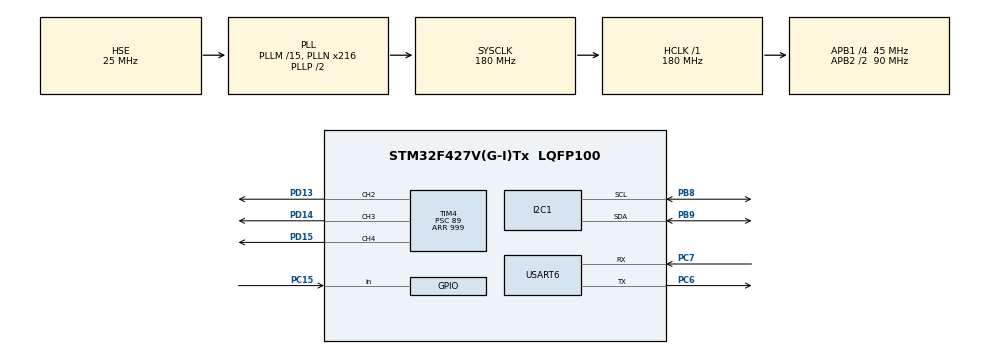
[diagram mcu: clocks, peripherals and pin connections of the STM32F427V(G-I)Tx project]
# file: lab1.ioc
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I2C1.I2C_Mode=I2C_Fast
Mcu.Family=STM32F4
Mcu.Name=STM32F427V(G-I)Tx
Mcu.Package=LQFP100
NVIC.PriorityGroup=NVIC_PRIORITYGROUP_4
NVIC.USART6_IRQn=true\:0\:0\:false\:false\:true\:true\:true\:true
PA13.Mode=JTAG_5_pins
PA13.Signal=SYS_JTMS-SWDIO
PA14.Mode=JTAG_5_pins
PA14.Signal=SYS_JTCK-SWCLK
PA15.Mode=JTAG_5_pins
PA15.Signal=SYS_JTDI
PB3.Mode=JTAG_5_pins
PB3.Signal=SYS_JTDO-SWO
PB4.Mode=JTAG_5_pins
PB4.Signal=SYS_JTRST
PB8.Mode=I2C
PB8.Signal=I2C1_SCL
PB9.Mode=I2C
PB9.Signal=I2C1_SDA
PC15/OSC32_OUT.Signal=GPIO_Input
PC6.Mode=Asynchronous
PC6.Signal=USART6_TX
PC7.Mode=Asynchronous
PC7.Signal=USART6_RX
PD13.Signal=S_TIM4_CH2
PD14.Signal=S_TIM4_CH3
PD15.Signal=S_TIM4_CH4
PH0/OSC_IN.Mode=HSE-External-Oscillator
PH0/OSC_IN.Signal=RCC_OSC_IN
PH1/OSC_OUT.Mode=HSE-External-Oscillator
PH1/OSC_OUT.Signal=RCC_OSC_OUT
ProjectManager.HeapSize=0x200
ProjectManager.StackSize=0x400
ProjectManager.TargetToolchain=STM32CubeIDE
RCC.48MHZClocksFreq_Value=90000000
RCC.AHBFreq_Value=180000000
RCC.APB1CLKDivider=RCC_HCLK_DIV4
RCC.APB1Freq_Value=45000000
RCC.APB1TimFreq_Value=90000000
RCC.APB2CLKDivider=RCC_HCLK_DIV2
RCC.APB2Freq_Value=90000000
RCC.APB2TimFreq_Value=180000000
RCC.CortexFreq_Value=180000000
RCC.HCLKFreq_Value=180000000
RCC.HSE_VALUE=25000000
RCC.HSI_VALUE=16000000
RCC.LSE_VALUE=32768
RCC.PLLM=15
RCC.PLLN=216
RCC.PLLSourceVirtual=RCC_PLLSOURCE_HSE
RCC.SYSCLKFreq_VALUE=180000000
RCC.SYSCLKSource=RCC_SYSCLKSOURCE_PLLCLK
RCC.VCOOutputFreq_Value=360000000
SH.S_TIM4_CH2.0=TIM4_CH2,PWM Generation2 CH2
SH.S_TIM4_CH3.0=TIM4_CH3,PWM Generation3 CH3
SH.S_TIM4_CH4.0=TIM4_CH4,PWM Generation4 CH4
TIM4.Channel-PWM\ Generation2\ CH2=TIM_CHANNEL_2
TIM4.Channel-PWM\ Generation3\ CH3=TIM_CHANNEL_3
TIM4.Channel-PWM\ Generation4\ CH4=TIM_CHANNEL_4
TIM4.Period=999
TIM4.Prescaler=89
TIM4.Pulse-PWM\ Generation2\ CH2=500
TIM4.Pulse-PWM\ Generation3\ CH3=500
USART6.VirtualMode=VM_ASYNC
VP_TIM4_VS_ClockSourceINT.Mode=Internal
board=custom

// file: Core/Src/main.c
/* USER CODE BEGIN Header */
/**
  ******************************************************************************
  * @file           : main.c
  * @brief          : Main program body
  ******************************************************************************
  * @attention
  *
  * Copyright (c) 2022 STMicroelectronics.
  * All rights reserved.
  *
  * This software is licensed under terms that can be found in the LICENSE file
  * in the root directory of this software component.
  * If no LICENSE file comes with this software, it is provided AS-IS.
  *
  ******************************************************************************
  */
/* USER CODE END Header */
#include "main.h"
#include "i2c.h"
#include "tim.h"
#include "usart.h"
#include "gpio.h"

/* USER CODE BEGIN Includes */
#include "utils.h"
#include "UartRingbuffer.h"
#include "mode.c"
#include <string.h>
#include <stdlib.h>
/* USER CODE END Includes */

/* USER CODE BEGIN PD */
#define MODES_LENGTH 9
#define TIMEOUT 10

#define KB_I2C_ADDRESS (0xE2)
#define KB_I2C_READ_ADDRESS ((KB_I2C_ADDRESS) | 1)
#define KB_I2C_WRITE_ADDRESS ((KB_I2C_ADDRESS) & ~1)
#define KB_INPUT_REG (0x0)
#define KB_OUTPUT_REG (0x1)
#define KB_CONFIG_REG (0x3)
#define KB_KEY_DEBOUNCE_TIME (100)
/* USER CODE END PD */

/* USER CODE BEGIN PV */

struct Mode MODES[] = {
		  {LED_GREEN, 10},
		  {LED_GREEN, 40},
		  {LED_GREEN, 100},
		  {LED_YELLOW, 10},
		  {LED_YELLOW, 40},
		  {LED_YELLOW, 100},
		  {LED_RED, 10},
		  {LED_RED, 40},
		  {LED_RED, 100}
};

struct Mode buffer_mode = {LED_GREEN, 0};
int input_index = 0;

bool is_editing_mode = false;

uint32_t last_pressed_time = 0;
int last_pressed_btn_index = -1;

bool is_digit_input_mode = true;
bool is_test_keyboard_mode = false;
bool last_btn_state = false;

char digits[] = {'1', '2', '3', '4', '5', '6', '7', '8', '9', 'q', '0', '\r'};
char chars[] = {'a', 'b', 'c', '+', '-', '!', '!', '!', '!', 'q', '!', '\r'};

/* USER CODE END PV */

void SystemClock_Config(void);

/* USER CODE BEGIN 0 */

void set_pin(int led, int brightness){
	disable_all_pins();

	switch (led) {
		case 0 :
			htim4.Instance->CCR2 = 10 * brightness;
			break;
		case 1 :
			htim4.Instance->CCR3 = 10 * brightness;
			break;
		case 2 :
			htim4.Instance->CCR4 = 10 * brightness;
			break;
	}
}

void disable_all_pins() {
	htim4.Instance->CCR2 = 0;
	htim4.Instance->CCR3 = 0;
	htim4.Instance->CCR4 = 0;
}

void print(const char * content) {
	uart_sendstring(content);
}

void print_number(const int content) {
	char str_index[3];
	sprintf(str_index, "%i", content);
	print(str_index);
}

void print_mode_description(struct Mode mode, int index, bool is_editing_mode){
	if (is_editing_mode) {
		print("Editing mode ");
	} else {
		print("Mode ");
	}

	print_number(index + 1);
	print(": ");

	switch (mode.led) {
		case 0 : print("green, "); break;
		case 1 : print("yellow, "); break;
		case 2 : print("red, "); break;
	}

	print_number(mode.brightness);
	print("% brightness\n\r");
}

int get_pressed_btn_index() {
	const uint32_t t = HAL_GetTick();

	if (t - last_pressed_time < KB_KEY_DEBOUNCE_TIME) {
		return -1;
	}

	int index = -1;

	uint8_t reg_buffer = ~0;

	// Clear register by writing zeroes
	uint8_t tmp = 0;
	HAL_I2C_Mem_Write(&hi2c1, KB_I2C_WRITE_ADDRESS, KB_OUTPUT_REG, 1, &tmp, 1, KB_KEY_DEBOUNCE_TIME);

	for (int row = 0; row < 4; row++) {
		uint8_t buf = ~((uint8_t) (1 << row));

		HAL_I2C_Mem_Write(&hi2c1, KB_I2C_WRITE_ADDRESS, KB_CONFIG_REG, 1, &buf, 1, KB_KEY_DEBOUNCE_TIME);

		HAL_Delay(10);

		HAL_I2C_Mem_Read(&hi2c1, KB_I2C_READ_ADDRESS, KB_INPUT_REG, 1, &reg_buffer, 1, KB_KEY_DEBOUNCE_TIME);

		switch(reg_buffer >> 4) {
			case 6: index = row * 3 + 1; break;
			case 5: index = row * 3 + 2; break;
			case 3: index = row * 3 + 3; break;
		}
	}

	if (index != -1) {
		last_pressed_time = t;
	}

	if (index == last_pressed_btn_index) {
		return -1;
	}

	last_pressed_btn_index = index;

	return index;
}

char key2char(const int key){
    return is_digit_input_mode ? digits[key - 1] : chars[key - 1];
}

void print_char_value(const char * array, int i) {
	if (array[i] == 'q'){
		print("chars/digits mode");
		return;
	}

	if (array[i] == '\r'){
		print("enter");
		return;
	}

	if (array[i] != '!'){
		char s[2];
		s[0] = array[i];
		s[1] = '\0';
		print(s);
	}
}

void print_key_value(int i) {
	print("Digit mode: ");
	print_char_value(digits, i);
	print(", Char mode: ");
	print_char_value(chars, i);
	print("\r\n");
}

/* USER CODE END 0 */

int main(void)
{

  /* MCU Configuration--------------------------------------------------------*/

  /* Reset of all peripherals, Initializes the Flash interface and the Systick. */
  HAL_Init();

  /* Configure the system clock */
  SystemClock_Config();

  /* Initialize all configured peripherals */
  MX_GPIO_Init();
  MX_USART6_UART_Init();
  MX_TIM4_Init();
  MX_I2C1_Init();
  /* USER CODE BEGIN 2 */
  Ringbuf_init ();
  /* USER CODE END 2 */

  /* Infinite loop */
  /* USER CODE BEGIN WHILE */

  HAL_TIM_PWM_Start(&htim4, TIM_CHANNEL_2);
  HAL_TIM_PWM_Start(&htim4, TIM_CHANNEL_3);
  HAL_TIM_PWM_Start(&htim4, TIM_CHANNEL_4);
  __HAL_UART_ENABLE_IT(&huart6, UART_IT_TXE);
  __HAL_UART_ENABLE_IT(&huart6, UART_IT_RXNE);

  disable_all_pins();

  while (1)
  {
    /* USER CODE END WHILE */

    /* USER CODE BEGIN 3 */
	bool btn_state = is_btn_press();

	if (last_btn_state && !btn_state){
	  is_test_keyboard_mode = !is_test_keyboard_mode;
	  if (is_test_keyboard_mode) {
		  print("\n\r== Keyboard testing mode enabled ==\n\r");
	  } else {
		  print("\n\r== Keyboard testing mode disabled ==\n\r");
	  }
	}

	last_btn_state = btn_state;

	int btn_index = get_pressed_btn_index();

	if (btn_index == -1) { // nothing pressed or error
	  continue;
	}

	char received_char = key2char(btn_index);

	if (is_test_keyboard_mode) { // just print
		print_key_value(btn_index - 1);
		continue;
	}

	if (is_editing_mode) {
		if (received_char == '\r') {
			is_editing_mode = false;
			MODES[input_index].led = buffer_mode.led;
			MODES[input_index].brightness = buffer_mode.brightness;

			print("Mode settings saved\n\r");
			print("\n\r== Editing mode disabled ==\n\r");

			if (!is_digit_input_mode) {
				is_digit_input_mode = true;
				print("Digit input mode is on\n\r");
			}

			continue;
		}

		bool changed = true;

		int i = atoi(&received_char) - 1;
		if (i >= 0) {
			input_index = i;
			buffer_mode.led = MODES[input_index].led;
			buffer_mode.brightness = MODES[input_index].brightness;
		} else switch (received_char) {
			case 'a' :
				buffer_mode.led = LED_GREEN;
				print("Changed color to green\r\n");
				break;
			case 'b' :
				buffer_mode.led = LED_YELLOW;
				print("Changed color to yellow\r\n");
				break;
			case 'c' :
				buffer_mode.led = LED_RED;
				print("Changed color to red\r\n");
				break;
			case 'q' :
				changed = false;

				is_digit_input_mode = !is_digit_input_mode;

				if (is_digit_input_mode) {
					print("Input mode: digits\r\n");
				} else {
					print("Input mode: chars\r\n");
				}

				break;
			case '-' :
				buffer_mode.brightness = buffer_mode.brightness >= 10 ? buffer_mode.brightness - 10 : 0;
				print("Decreased brightness\r\n");
				break;
			case '+' :
				buffer_mode.brightness = buffer_mode.brightness <= 90 ? buffer_mode.brightness + 10 : 100;
				print("Increased brightness\r\n");
				break;
			default: // wrong character, nothing actually changed
				changed = false;
				break;
		}

		if (changed) {
			print_mode_description(buffer_mode, input_index, true);
		}

		continue;
	}

	if (received_char == '\r') {
		is_editing_mode = true;
		print("\n\r== Editing mode enabled ==\n\r");
		continue;
	}

	int mode_index = atoi(&received_char) - 1;
	if (received_char != 'q') {
		if (mode_index != -1) {
			set_pin(MODES[mode_index].led, MODES[mode_index].brightness);
			print_mode_description(MODES[mode_index], mode_index, false);
		} else {
			disable_all_pins();
			print("Disabled all diodes\n\r");
		}
	}
  }

  /* USER CODE END 3 */
}

void SystemClock_Config(void)
{
  RCC_OscInitTypeDef RCC_OscInitStruct = {0};
  RCC_ClkInitTypeDef RCC_ClkInitStruct = {0};

  /** Configure the main internal regulator output voltage
  */
  __HAL_RCC_PWR_CLK_ENABLE();
  __HAL_PWR_VOLTAGESCALING_CONFIG(PWR_REGULATOR_VOLTAGE_SCALE1);

  /** Initializes the RCC Oscillators according to the specified parameters
  * in the RCC_OscInitTypeDef structure.
  */
  RCC_OscInitStruct.OscillatorType = RCC_OSCILLATORTYPE_HSE;
  RCC_OscInitStruct.HSEState = RCC_HSE_ON;
  RCC_OscInitStruct.PLL.PLLState = RCC_PLL_ON;
  RCC_OscInitStruct.PLL.PLLSource = RCC_PLLSOURCE_HSE;
  RCC_OscInitStruct.PLL.PLLM = 15;
  RCC_OscInitStruct.PLL.PLLN = 216;
  RCC_OscInitStruct.PLL.PLLP = RCC_PLLP_DIV2;
  RCC_OscInitStruct.PLL.PLLQ = 4;
  if (HAL_RCC_OscConfig(&RCC_OscInitStruct) != HAL_OK)
  {
    Error_Handler();
  }

  /** Activate the Over-Drive mode
  */
  if (HAL_PWREx_EnableOverDrive() != HAL_OK)
  {
    Error_Handler();
  }

  /** Initializes the CPU, AHB and APB buses clocks
  */
  RCC_ClkInitStruct.ClockType = RCC_CLOCKTYPE_HCLK|RCC_CLOCKTYPE_SYSCLK
                              |RCC_CLOCKTYPE_PCLK1|RCC_CLOCKTYPE_PCLK2;
  RCC_ClkInitStruct.SYSCLKSource = RCC_SYSCLKSOURCE_PLLCLK;
  RCC_ClkInitStruct.AHBCLKDivider = RCC_SYSCLK_DIV1;
  RCC_ClkInitStruct.APB1CLKDivider = RCC_HCLK_DIV4;
  RCC_ClkInitStruct.APB2CLKDivider = RCC_HCLK_DIV2;

  if (HAL_RCC_ClockConfig(&RCC_ClkInitStruct, FLASH_LATENCY_5) != HAL_OK)
  {
    Error_Handler();
  }
}

void Error_Handler(void)
{
  /* USER CODE BEGIN Error_Handler_Debug */
  /* User can add his own implementation to report the HAL error return state */
//  __disable_irq();
  while (1)
  {
  }
  /* USER CODE END Error_Handler_Debug */
}
